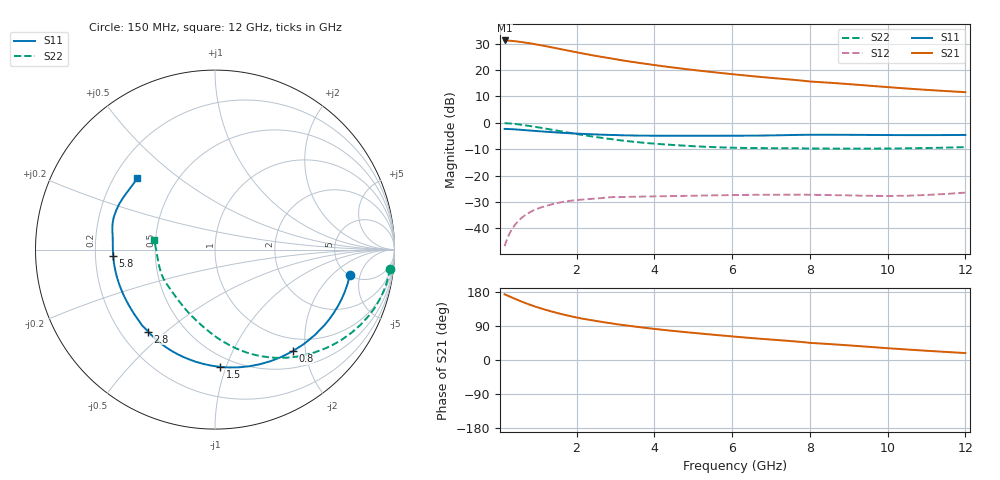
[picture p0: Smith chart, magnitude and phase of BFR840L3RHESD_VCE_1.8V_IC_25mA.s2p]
! (c) 2012  Infineon Technologies AG, Munich
! Infineon Technologies  Discrete & RF Semiconductors
! BFR840L3RHESD
! VCE =  1.8 V,  IC =  25 mA
! Common Emitter S-Parameters:  Jun 2012
# GHz  S  MA  R  50
!  f  S11  S21  S12  S22
! GHz  MAG  ANG  MAG  ANG  MAG  ANG  MAG  ANG
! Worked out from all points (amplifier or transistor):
!   91 points, 150 MHz to 12 GHz, reference 50 ohm
!   highest |S21| = 31.2 dB at 150 MHz (marker M1)
!   |S21| within 3 dB of that: start of sweep to 1.495 GHz
!   unconditionally stable (mu >= 1): 6.947 GHz to end of sweep
!   at 1.3 GHz: K = 0.20, MSG = 29.9 dB, |S12| = -31.2 dB
!   at 4.3 GHz: K = 0.63, MSG = 24.5 dB, |S12| = -27.8 dB
!   at 12 GHz: K = 1.75, MAG = 14.0 dB, |S12| = -26.5 dB
!   S11 on the Smith chart (normalised r, x): 150 MHz: 5.06, -3.46; 800 MHz: 0.77, -1.76; 1.5 GHz: 0.42, -0.95; 2.8 GHz: 0.31, -0.44; 5.8 GHz: 0.28, -0.03; 12 GHz: 0.30, +0.36
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0.15  0.7645 -10.7  36.21 173.4  0.0046 90.7  0.9804 -6.2
0.3  0.7576 -21.2  35.73 166.6  0.0086 77.8  0.9674 -13.9
0.5  0.7414 -34.4  34.45 157.8  0.0138 69.4  0.9337 -23.1
0.7  0.7223 -46.8  32.84 149.7  0.0183 64.0  0.8908 -31.3
0.8  0.7127 -52.6  31.97 145.9  0.0202 61.7  0.8679 -35.2
0.9  0.7033 -58.2  31.07 142.3  0.022 59.5  0.8446 -38.9
1.1  0.6855 -68.8  29.22 135.7  0.0251 55.1  0.7983 -45.8
1.3  0.6691 -78.6  27.38 129.7  0.0277 50.9  0.7531 -52.3
1.5  0.6541 -87.5  25.6 124.1  0.0301 46.9  0.71 -58.2
1.9  0.6287 -103.1  22.38 114.4  0.0337 40.3  0.6313 -68.7
2.2  0.6139 -113.1  20.27 108.3  0.0353 36.9  0.58 -75.6
2.5  0.6011 -121.7  18.45 103.0  0.0367 34.8  0.5362 -81.7
2.8  0.5896 -129.2  16.93 98.2  0.0384 33.6  0.5004 -87.1
3.4  0.5749 -142.4  14.34 89.6  0.0396 29.4  0.4415 -97.3
4.2  0.568 -155.9  11.84 79.8  0.0406 27.3  0.3924 -109.2
5  0.5673 -167.2  10.01 71.6  0.0415 26.4  0.3603 -120.3
5.8  0.5684 -176.5  8.629 64.1  0.0425 25.1  0.3406 -130.6
6.1  0.5689 -179.7  8.191 61.4  0.0428 24.6  0.3362 -134.3
8  0.5922 161.8  6.049 45.2  0.0433 24.4  0.3261 -158.7
8.5  0.5924 158.2  5.734 42.1  0.0427 24.4  0.3243 -163.1
10.5  0.5836 144.4  4.447 27.7  0.0415 31.0  0.3282 179.8
12  0.5877 137.6  3.797 18.3  0.0475 37.6  0.3458 171.0
